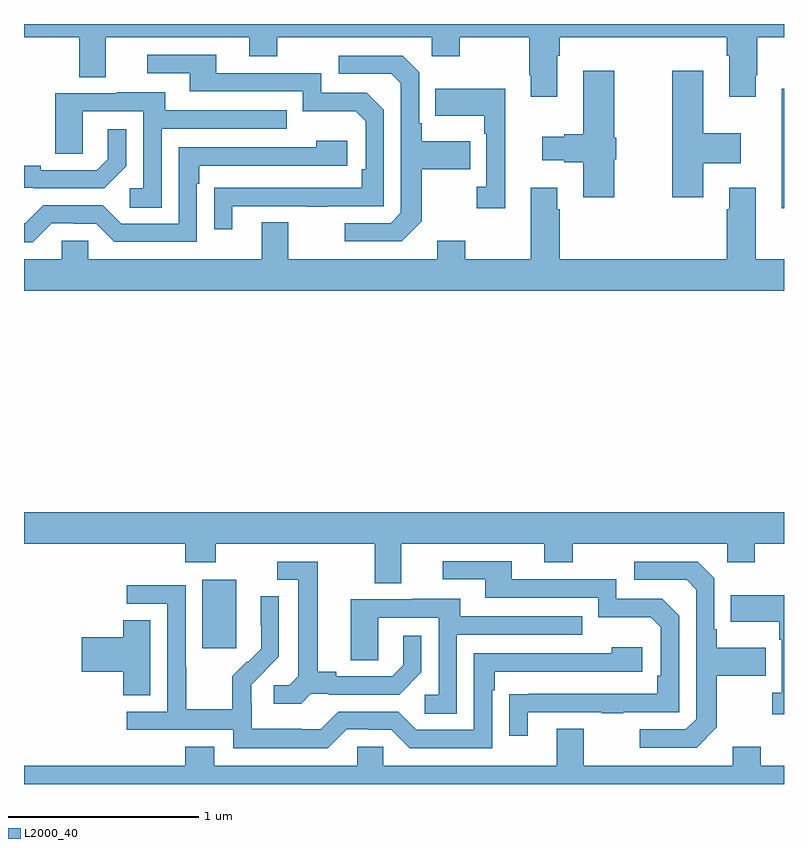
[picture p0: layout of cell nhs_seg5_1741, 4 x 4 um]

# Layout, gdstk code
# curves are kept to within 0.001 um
import gdstk
lib = gdstk.Library(unit=1e-6, precision=1e-09)
def R(c, l, rs):  # rectangles x0, y0, x1, y1
    for r in rs: c.add(gdstk.rectangle(r[:2], r[2:], *l))
def P(c, l, *ps):  # polygons
    for p in ps: c.add(gdstk.Polygon(p, *l))
L2000_40 = (2000, 40)

nhs_seg5_1741 = lib.new_cell('nhs_seg5_1741')
R(nhs_seg5_1741, L2000_40, [(215.939,885.513,216.118,885.874), (218.987,887.829,219,888.457)])
P(nhs_seg5_1741, L2000_40, [(215,888.728),(215.291,888.728),(215.291,888.52),(215.431,888.52),(215.431,888.728),(216.185,888.728),(216.185,888.629),(216.333,888.629),(216.333,888.728),(217.146,888.728),(217.146,888.629),(217.293,888.629),(217.293,888.728),(217.66,888.728),(217.66,888.529),(217.667,888.529),(217.667,888.417),(217.807,888.417),(217.807,888.632),(217.82,888.632),(217.82,888.728),(218.699,888.728),(218.699,888.632),(218.711,888.632),(218.711,888.417),(218.851,888.417),(218.851,888.529),(218.859,888.529),(218.859,888.728),(219,888.728),(219,888.799),(215,888.799)],
  [(216.097,887.841),(216.487,887.841),(216.487,887.836),(216.599,887.836),(216.599,887.841),(216.894,887.841),(216.894,888.348),(216.804,888.438),(216.564,888.438),(216.564,888.54),(216.013,888.54),(216.013,888.636),(215.649,888.636),(215.649,888.54),(215.873,888.54),(215.873,888.444),(216.468,888.444),(216.468,888.341),(216.745,888.341),(216.798,888.288),(216.798,888.034),(216.778,888.034),(216.778,887.937),(216.001,887.936),(216.001,887.718),(216.097,887.718)],
  [(217.093,887.761),(217.093,888.034),(217.349,888.034),(217.349,888.181),(217.093,888.181),(217.093,888.277),(217.08,888.277),(217.08,888.546),(216.993,888.633),(216.657,888.633),(216.657,888.537),(216.933,888.537),(216.984,888.486),(216.984,887.805),(216.93,887.751),(216.687,887.751),(216.687,887.655),(216.987,887.655)],
  [(218.575,888.065),(218.773,888.065),(218.773,888.223),(218.575,888.223),(218.575,888.553),(218.413,888.553),(218.413,887.886),(218.575,887.886)],
  [(218.106,888.087),(218.116,888.087),(218.116,888.201),(218.106,888.201),(218.106,888.553),(217.943,888.553),(217.943,888.218),(217.844,888.218),(217.844,888.205),(217.728,888.205),(217.728,888.083),(217.844,888.083),(217.844,888.071),(217.943,888.071),(217.943,887.886),(218.106,887.886)],
  [(217.532,888.457),(217.165,888.457),(217.165,888.317),(217.422,888.317),(217.422,888.221),(217.434,888.221),(217.434,887.942),(217.383,887.942),(217.383,887.829),(217.532,887.829)],
  [(215.724,888.249),(216.383,888.249),(216.383,888.345),(215.743,888.345),(215.743,888.439),(215.489,888.439),(215.489,888.435),(215.165,888.435),(215.165,888.115),(215.31,888.115),(215.31,888.339),(215.628,888.339),(215.628,887.934),(215.556,887.934),(215.556,887.833),(215.724,887.833)],
  [(215.538,888.05),(215.538,888.244),(215.441,888.244),(215.441,888.087),(215.384,888.03),(215.089,888.03),(215.089,888.053),(215,888.053),(215,887.937),(215.05,887.937),(215.05,887.934),(215.422,887.934)],
  [(215.145,887.751),(215.261,887.751),(215.261,887.748),(215.379,887.748),(215.475,887.652),(215.91,887.652),(215.91,887.957),(215.923,887.957),(215.923,888.054),(216.7,888.054),(216.7,888.184),(216.539,888.184),(216.539,888.15),(215.814,888.15),(215.814,887.748),(215.511,887.748),(215.415,887.844),(215.1,887.844),(215.007,887.751),(215,887.751),(215,887.651),(215.045,887.651)],
  [(219,887.56),(218.851,887.56),(218.851,887.938),(218.711,887.938),(218.711,887.825),(218.699,887.825),(218.699,887.56),(217.82,887.56),(217.82,887.825),(217.807,887.825),(217.807,887.938),(217.667,887.938),(217.667,887.56),(217.323,887.56),(217.323,887.659),(217.175,887.659),(217.175,887.56),(216.391,887.56),(216.391,887.755),(216.251,887.755),(216.251,887.56),(215.337,887.56),(215.337,887.658),(215.199,887.658),(215.199,887.56),(215,887.56),(215,887.396),(219,887.396)],
  [(216.985,886.064),(217.739,886.064),(217.739,885.965),(217.887,885.965),(217.887,886.064),(218.7,886.064),(218.7,885.965),(218.847,885.965),(218.847,886.064),(219,886.064),(219,886.228),(215,886.228),(215,886.064),(215.849,886.064),(215.849,885.965),(216.009,885.965),(216.009,886.064),(216.845,886.064),(216.845,885.856),(216.985,885.856)],
  [(217.651,885.177),(218.041,885.177),(218.041,885.172),(218.153,885.172),(218.153,885.177),(218.448,885.177),(218.448,885.684),(218.358,885.774),(218.118,885.774),(218.118,885.876),(217.567,885.876),(217.567,885.972),(217.203,885.972),(217.203,885.876),(217.427,885.876),(217.427,885.78),(218.022,885.78),(218.022,885.677),(218.299,885.677),(218.352,885.624),(218.352,885.37),(218.332,885.37),(218.332,885.273),(217.555,885.272),(217.555,885.054),(217.651,885.054)],
  [(218.647,885.097),(218.647,885.37),(218.903,885.37),(218.903,885.517),(218.647,885.517),(218.647,885.613),(218.634,885.613),(218.634,885.882),(218.547,885.969),(218.211,885.969),(218.211,885.873),(218.487,885.873),(218.538,885.822),(218.538,885.141),(218.484,885.087),(218.241,885.087),(218.241,884.991),(218.541,884.991)],
  [(216.51,885.273),(216.604,885.273),(216.604,885.27),(216.976,885.27),(217.092,885.386),(217.092,885.58),(216.995,885.58),(216.995,885.423),(216.938,885.366),(216.643,885.366),(216.643,885.389),(216.547,885.389),(216.547,885.969),(216.333,885.969),(216.333,885.873),(216.443,885.873),(216.443,885.365),(216.396,885.318),(216.315,885.318),(216.315,885.221),(216.458,885.221)],
  [(216.699,885.087),(216.815,885.087),(216.815,885.084),(216.933,885.084),(217.029,884.988),(217.464,884.988),(217.464,885.293),(217.477,885.293),(217.477,885.39),(218.254,885.39),(218.254,885.52),(218.093,885.52),(218.093,885.486),(217.368,885.486),(217.368,885.084),(217.065,885.084),(216.969,885.18),(216.654,885.18),(216.561,885.087),(216.461,885.087),(216.461,885.091),(216.198,885.091),(216.198,885.225),(216.196,885.225),(216.196,885.322),(216.342,885.47),(216.342,885.788),(216.246,885.788),(216.246,885.634),(216.248,885.634),(216.248,885.512),(216.177,885.441),(216.174,885.444),(216.097,885.367),(216.097,885.193),(215.853,885.193),(215.853,885.416),(215.85,885.416),(215.85,885.846),(215.541,885.846),(215.541,885.747),(215.754,885.747),(215.754,885.18),(215.541,885.18),(215.541,885.084),(216.102,885.084),(216.102,884.987),(216.599,884.987)],
  [(219,885.793),(218.719,885.793),(218.719,885.653),(218.976,885.653),(218.976,885.557),(218.988,885.557),(218.988,885.278),(218.937,885.278),(218.937,885.165),(219,885.165)],
  [(217.278,885.585),(217.937,885.585),(217.937,885.681),(217.297,885.681),(217.297,885.775),(217.043,885.775),(217.043,885.771),(216.719,885.771),(216.719,885.451),(216.864,885.451),(216.864,885.675),(217.182,885.675),(217.182,885.27),(217.11,885.27),(217.11,885.169),(217.278,885.169)],
  [(215.665,885.662),(215.522,885.662),(215.522,885.572),(215.304,885.572),(215.304,885.389),(215.522,885.389),(215.522,885.265),(215.665,885.265)],
  [(219,884.896),(218.877,884.896),(218.877,884.995),(218.729,884.995),(218.729,884.896),(217.945,884.896),(217.945,885.091),(217.805,885.091),(217.805,884.896),(216.891,884.896),(216.891,884.994),(216.753,884.994),(216.753,884.896),(216.001,884.896),(216.001,884.995),(215.849,884.995),(215.849,884.896),(215,884.896),(215,884.799),(219,884.799)])

lib.write_gds('nhs_seg5_1741.gds')
